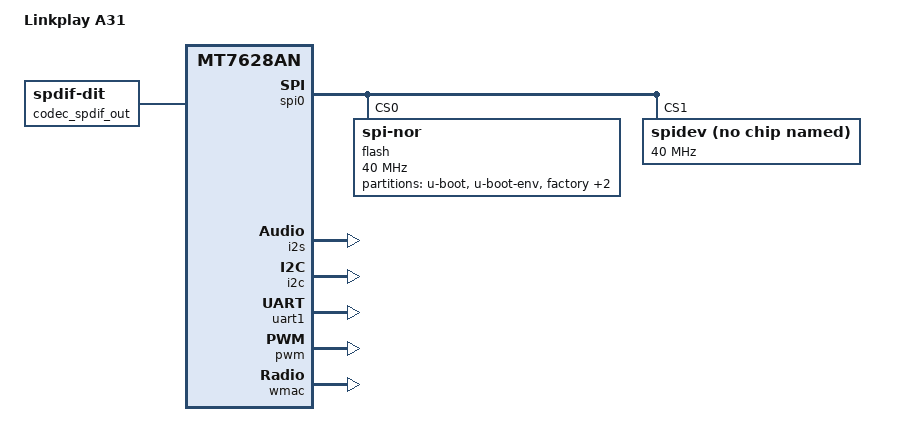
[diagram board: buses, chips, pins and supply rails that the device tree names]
#include "mt7628an.dtsi"

#include <dt-bindings/gpio/gpio.h>
#include <dt-bindings/input/input.h>

/ {
	/*
	 * (C) 2024 Hajo Noerenberg
	 * 
	 * https://github.com/hn/linkplay-a31
	 * http://www.noerenberg.de/
	 *
	 */

	compatible = "linkplay,a31", "mediatek,mt7628an-soc";
	model = "Linkplay A31";

	chosen {
		bootargs = "console=ttyS1,57600";
	};

	aliases {
		serial0 = &uart1;
		serial1 = &uartlite;
	};

	/*
	 * This configures the A31 as an I2S slave using a generic S/PDIF transmitter.
	 * For I2S master configuration, you'll need to add a real codec and
	 * extend the settings below (see A31 manual section 2.3).
	 */

	sound {
		compatible = "simple-audio-card";
		simple-audio-card,name = "Audio-I2S";
		simple-audio-card,format = "i2s";
		simple-audio-card,bitclock-master = <&dailink0_master>;
		simple-audio-card,frame-master = <&dailink0_master>;

		simple-audio-card,cpu {
			sound-dai = <&i2s>;
			// dai-tdm-slot-num = <2>;
			// dai-tdm-slot-width = <32>;
		};

		dailink0_master: simple-audio-card,codec {
			sound-dai = <&codec_spdif_out>;
		};
	};

	codec_spdif_out: spdif-transmitter {
		#address-cells = <0>;
		#size-cells = <0>;
		#sound-dai-cells = <0>;
		compatible = "linux,spdif-dit";
		status = "okay";
	};

};

&state_default {

	/* PCB GPIOs 1-5 are wired to MCU pins 14-18 => Linux 494-498 */

	pwm0 {
		groups = "pwm0";
		function = "gpio";
	};

	spis {
		groups = "spis";
		function = "gpio";
	};

};

&spi0 {
	status = "okay";

	pinctrl-names = "default";
	pinctrl-0 = <&spi_pins>, <&spi_cs1_pins>;

	flash@0 {
		compatible = "jedec,spi-nor";
		reg = <0>;
		spi-max-frequency = <40000000>;

		partitions {
			compatible = "fixed-partitions";
			#address-cells = <1>;
			#size-cells = <1>;

			partition@0 {
				label = "u-boot";
				reg = <0x0 0x30000>;
				read-only;
			};

			partition@30000 {
				label = "u-boot-env";
				reg = <0x30000 0x10000>;
			};

			factory: partition@40000 {
				label = "factory";
				reg = <0x40000 0x10000>;
				read-only;
			};

			partition@50000 {
				label = "bkKernel";
				reg = <0x50000 0x200000>;
				read-only;
			};

			/*
			 * Original firmware has a 'firmware' partition with
			 * size 0x730000 at 0x250000, a jffs2 'user' partitition
			 * with size 0x80000 at 0x980000 and a jffs2 'user2'
			 * partition with size 0x600000 at 0xa00000.
			 * Dropping both user partitions in favour of a
			 * bigger 'firmware' partition.
			 */

			partition@250000 {
				compatible = "denx,uimage";
				label = "firmware";
				reg = <0x250000 0xdb0000>;
			};
		};
	};

	spidev@1 {
		#address-cells = <1>;
		#size-cells = <1>;
		compatible = "linux,spidev";
		reg = <1>;
		spi-max-frequency = <40000000>;
	};
};

&i2s {
	#sound-dai-cells = <0>;
	status = "okay";
	pinctrl-names = "default";
	pinctrl-0 = <&i2s_pins>, <&refclk_pins>;
};

&i2c {
	status = "okay";
};

&gdma {
	status = "okay";
};

&uart1 {
	status = "okay";
};

&pwm {
	status = "okay";
};

&ethernet {
	nvmem-cells = <&macaddr_factory_eth_2e>;
	nvmem-cell-names = "mac-address";
};

&wmac {
	status = "okay";

	mediatek,mtd-eeprom = <&factory 0x0>;
};

&factory {
	compatible = "nvmem-cells";
	#address-cells = <1>;
	#size-cells = <1>;

	macaddr_factory_wifi_4: macaddr@4 {
		reg = <0x4 0x6>;
	};
	macaddr_factory_wifi_28: macaddr@28 {
		reg = <0x28 0x6>;
	};
	macaddr_factory_eth_2e: macaddr@2e {
		reg = <0x2e 0x6>;
	};
};
